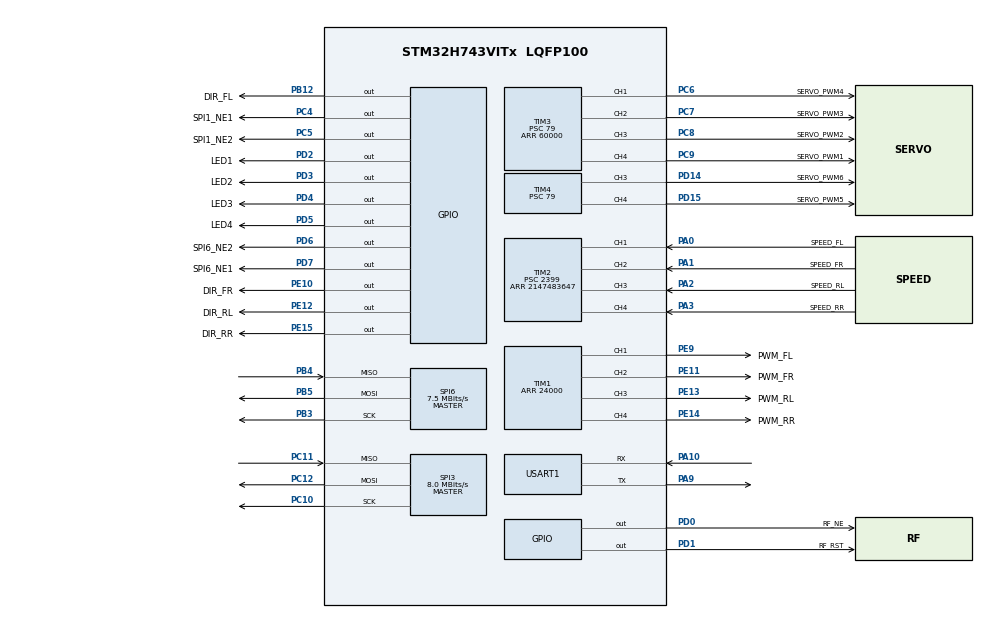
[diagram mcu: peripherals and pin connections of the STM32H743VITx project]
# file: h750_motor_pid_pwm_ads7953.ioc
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Mcu.Family=STM32H7
Mcu.Name=STM32H743VITx
Mcu.Package=LQFP100
NVIC.PriorityGroup=NVIC_PRIORITYGROUP_4
NVIC.TIM2_IRQn=true\:0\:0\:false\:false\:true\:true\:true
NVIC.TIM6_DAC_IRQn=true\:1\:0\:true\:false\:true\:true\:true
PA0.GPIO_Label=SPEED_FL
PA0.Signal=S_TIM2_CH1
PA1.GPIO_Label=SPEED_FR
PA1.Signal=S_TIM2_CH2
PA10.Mode=Asynchronous
PA10.Signal=USART1_RX
PA13\ (JTMS/SWDIO).Mode=Serial_Wire
PA13\ (JTMS/SWDIO).Signal=DEBUG_JTMS-SWDIO
PA14\ (JTCK/SWCLK).Mode=Serial_Wire
PA14\ (JTCK/SWCLK).Signal=DEBUG_JTCK-SWCLK
PA2.GPIO_Label=SPEED_RL
PA2.Signal=S_TIM2_CH3
PA3.GPIO_Label=SPEED_RR
PA3.Signal=S_TIM2_CH4
PA5.Signal=SPI1_SCK
PA6.Signal=SPI1_MISO
PA7.Signal=SPI1_MOSI
PA9.Mode=Asynchronous
PA9.Signal=USART1_TX
PB10.Signal=QUADSPI_BK1_NCS
PB12.GPIO_Label=DIR_FL
PB12.Signal=GPIO_Output
PB2.Signal=QUADSPI_CLK
PB3\ (JTDO/TRACESWO).Mode=Full_Duplex_Master
PB3\ (JTDO/TRACESWO).Signal=SPI6_SCK
PB4\ (NJTRST).Mode=Full_Duplex_Master
PB4\ (NJTRST).Signal=SPI6_MISO
PB5.Mode=Full_Duplex_Master
PB5.Signal=SPI6_MOSI
PC10.Mode=Full_Duplex_Master
PC10.Signal=SPI3_SCK
PC11.Mode=Full_Duplex_Master
PC11.Signal=SPI3_MISO
PC12.Mode=Full_Duplex_Master
PC12.Signal=SPI3_MOSI
PC4.GPIO_Label=SPI1_NE1
PC4.Signal=GPIO_Output
PC5.GPIO_Label=SPI1_NE2
PC5.Signal=GPIO_Output
PC6.GPIO_Label=SERVO_PWM4
PC6.Signal=S_TIM3_CH1
PC7.GPIO_Label=SERVO_PWM3
PC7.Signal=S_TIM3_CH2
PC8.GPIO_Label=SERVO_PWM2
PC8.Signal=S_TIM3_CH3
PC9.GPIO_Label=SERVO_PWM1
PC9.Signal=S_TIM3_CH4
PD0.GPIO_Label=RF_NE
PD0.Signal=GPIO_Output
PD1.GPIO_Label=RF_RST
PD1.Signal=GPIO_Output
PD11.Signal=QUADSPI_BK1_IO0
PD12.Signal=QUADSPI_BK1_IO1
PD14.GPIO_Label=SERVO_PWM6
PD14.Signal=S_TIM4_CH3
PD15.GPIO_Label=SERVO_PWM5
PD15.Signal=S_TIM4_CH4
PD2.GPIO_Label=LED1
PD2.Signal=GPIO_Output
PD3.GPIO_Label=LED2
PD3.Signal=GPIO_Output
PD4.GPIO_Label=LED3
PD4.Signal=GPIO_Output
PD5.GPIO_Label=LED4
PD5.Signal=GPIO_Output
PD6.GPIO_Label=SPI6_NE2
PD6.Signal=GPIO_Output
PD7.GPIO_Label=SPI6_NE1
PD7.Signal=GPIO_Output
PE10.GPIO_Label=DIR_FR
PE10.Signal=GPIO_Output
PE11.GPIO_Label=PWM_FR
PE11.Signal=S_TIM1_CH2
PE12.GPIO_Label=DIR_RL
PE12.Signal=GPIO_Output
PE13.GPIO_Label=PWM_RL
PE13.Signal=S_TIM1_CH3
PE14.GPIO_Label=PWM_RR
PE14.Signal=S_TIM1_CH4
PE15.GPIO_Label=DIR_RR
PE15.Signal=GPIO_Output
PE9.GPIO_Label=PWM_FL
PE9.Signal=S_TIM1_CH1
PH0-OSC_IN\ (PH0).Mode=HSE-External-Oscillator
PH0-OSC_IN\ (PH0).Signal=RCC_OSC_IN
PH1-OSC_OUT\ (PH1).Mode=HSE-External-Oscillator
PH1-OSC_OUT\ (PH1).Signal=RCC_OSC_OUT
ProjectManager.HeapSize=0x200
ProjectManager.StackSize=0x400
ProjectManager.TargetToolchain=MDK-ARM V5.27
RCC.ADCFreq_Value=256000000
RCC.APB1Freq_Value=120000000
RCC.APB2Freq_Value=120000000
RCC.APB3Freq_Value=120000000
RCC.APB4Freq_Value=120000000
RCC.CortexFreq_Value=480000000
RCC.D1PPRE=RCC_APB3_DIV2
RCC.D2PPRE1=RCC_APB1_DIV2
RCC.D2PPRE2=RCC_APB2_DIV2
RCC.D3PPRE=RCC_APB4_DIV2
RCC.DIVM1=1
RCC.DIVM2=1
RCC.DIVN1=120
RCC.DIVN2=64
RCC.HCLKFreq_Value=240000000
RCC.HPRE=RCC_HCLK_DIV2
RCC.HSE_VALUE=8000000
RCC.PLLFRACN=0
RCC.PLLSourceVirtual=RCC_PLLSOURCE_HSE
RCC.SPI123CLockSelection=RCC_SPI123CLKSOURCE_PLL2
RCC.SYSCLKFreq_VALUE=480000000
RCC.SYSCLKSource=RCC_SYSCLKSOURCE_PLLCLK
RCC.USBFreq_Value=480000000
SH.S_TIM1_CH1.0=TIM1_CH1,PWM Generation1 CH1
SH.S_TIM1_CH2.0=TIM1_CH2,PWM Generation2 CH2
SH.S_TIM1_CH3.0=TIM1_CH3,PWM Generation3 CH3
SH.S_TIM1_CH4.0=TIM1_CH4,PWM Generation4 CH4
SH.S_TIM2_CH1.0=TIM2_CH1,Input_Capture1_from_TI1
SH.S_TIM2_CH2.0=TIM2_CH2,Input_Capture2_from_TI2
SH.S_TIM2_CH3.0=TIM2_CH3,Input_Capture3_from_TI3
SH.S_TIM2_CH4.0=TIM2_CH4,Input_Capture4_from_TI4
SH.S_TIM3_CH1.0=TIM3_CH1,PWM Generation1 CH1
SH.S_TIM3_CH2.0=TIM3_CH2,PWM Generation2 CH2
SH.S_TIM3_CH3.0=TIM3_CH3,PWM Generation3 CH3
SH.S_TIM3_CH4.0=TIM3_CH4,PWM Generation4 CH4
SH.S_TIM4_CH3.0=TIM4_CH3,PWM Generation3 CH3
SH.S_TIM4_CH4.0=TIM4_CH4,PWM Generation4 CH4
SPI3.BaudRatePrescaler=SPI_BAUDRATEPRESCALER_32
SPI3.CalculateBaudRate=8.0 MBits/s
SPI3.DataSize=SPI_DATASIZE_8BIT
SPI3.Direction=SPI_DIRECTION_2LINES
SPI3.Mode=SPI_MODE_MASTER
SPI3.VirtualType=VM_MASTER
SPI6.BaudRatePrescaler=SPI_BAUDRATEPRESCALER_16
SPI6.CalculateBaudRate=7.5 MBits/s
SPI6.DataSize=SPI_DATASIZE_8BIT
SPI6.Direction=SPI_DIRECTION_2LINES
SPI6.Mode=SPI_MODE_MASTER
SPI6.VirtualType=VM_MASTER
TIM1.Channel-PWM\ Generation1\ CH1=TIM_CHANNEL_1
TIM1.Channel-PWM\ Generation2\ CH2=TIM_CHANNEL_2
TIM1.Channel-PWM\ Generation3\ CH3=TIM_CHANNEL_3
TIM1.Channel-PWM\ Generation4\ CH4=TIM_CHANNEL_4
TIM1.Period=24000
TIM2.Channel-Input_Capture1_from_TI1=TIM_CHANNEL_1
TIM2.Channel-Input_Capture2_from_TI2=TIM_CHANNEL_2
TIM2.Channel-Input_Capture3_from_TI3=TIM_CHANNEL_3
TIM2.Channel-Input_Capture4_from_TI4=TIM_CHANNEL_4
TIM2.Period=2147483647
TIM2.Prescaler=2399
TIM3.Channel-PWM\ Generation1\ CH1=TIM_CHANNEL_1
TIM3.Channel-PWM\ Generation2\ CH2=TIM_CHANNEL_2
TIM3.Channel-PWM\ Generation3\ CH3=TIM_CHANNEL_3
TIM3.Channel-PWM\ Generation4\ CH4=TIM_CHANNEL_4
TIM3.Period=60000
TIM3.Prescaler=79
TIM4.Channel-PWM\ Generation3\ CH3=TIM_CHANNEL_3
TIM4.Channel-PWM\ Generation4\ CH4=TIM_CHANNEL_4
TIM4.Period=60000
TIM4.Prescaler=79
TIM6.AutoReloadPreload=TIM_AUTORELOAD_PRELOAD_ENABLE
TIM6.Period=49
TIM6.Prescaler=23999
TIM7.AutoReloadPreload=TIM_AUTORELOAD_PRELOAD_ENABLE
TIM7.Period=9
TIM7.Prescaler=23999
USART1.VirtualMode-Asynchronous=VM_ASYNC
VP_TIM1_VS_ClockSourceINT.Mode=Internal
VP_TIM2_VS_ClockSourceINT.Mode=Internal
VP_TIM4_VS_ClockSourceINT.Mode=Internal
VP_TIM6_VS_ClockSourceINT.Mode=Enable_Timer
VP_TIM7_VS_ClockSourceINT.Mode=Enable_Timer
board=custom

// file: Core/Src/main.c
/* USER CODE BEGIN Header */
/**
  ******************************************************************************
  * @file           : main.c
  * @brief          : Main program body
  ******************************************************************************
  * @attention
  *
  * <h2><center>&copy; Copyright (c) 2021 STMicroelectronics.
  * All rights reserved.</center></h2>
  *
  * This software component is licensed by ST under BSD 3-Clause license,
  * the "License"; You may not use this file except in compliance with the
  * License. You may obtain a copy of the License at:
  *                        opensource.org/licenses/BSD-3-Clause
  *
  ******************************************************************************
  */
/* USER CODE END Header */
#include "main.h"
#include "spi.h"
#include "tim.h"
#include "usart.h"
#include "gpio.h"

/* USER CODE BEGIN Includes */
#include "SX1231_APP.h"
#include "ADS7953.h"
#include "motor.h"
#include "delay.h"
#include "stdlib.h"
#include "stdio.h"
#include "seek_line.h"
#include "servo.h"

/* USER CODE END Includes */

/* USER CODE BEGIN PD */
#define RMT_XY_SCALE 4100
/* USER CODE END PD */

void SystemClock_Config(void);

int main(void)
{
  /* USER CODE BEGIN 1 */
	uint8_t bfr[SX1231_PayloadLength];
	uint8_t id, ack, dat[6], i, rx_Valid;
	uint8_t seek_line_enable = 0;
	uint32_t invalid_cnt = 0;
	int32_t rmt_LY[2], rmt_LX[2], rmt_RY[2], rmt_RX[2];
	int32_t rmt_LY_o, rmt_LX_o, rmt_RY_o, rmt_RX_o;
	uint16_t rmt_keys;
	int32_t speed_X, speed_Y, speed_R;
	int32_t speed_FL, speed_FR, speed_RL, speed_RR;

	float kPm = 9.3, kIm = 2.7, kDm = 10.4;
	float kPx, kIx, kDx, kPy, kIy, kDy, kPr, kIr, kDr;

	float servo_angle[4] = {90, 90, 90, 90};

	uint16_t ADS7953_F_bfr[16];
	uint16_t ADS7953_R_bfr[16];
	ADS7953_Typedef ADS7953_F, ADS7953_R;

	ADS7953_F.ADC_Range = ADS7953_Range_VREF;
	ADS7953_F.SPI_Port = SPI6;
	ADS7953_F.NSS_GPIO_Pin = SPI6_NE1_Pin;
	ADS7953_F.NSS_GPIO_Port = SPI6_NE1_GPIO_Port;

	ADS7953_R.ADC_Range = ADS7953_Range_VREF;
	ADS7953_R.SPI_Port = SPI6;
	ADS7953_R.NSS_GPIO_Pin = SPI6_NE2_Pin;
	ADS7953_R.NSS_GPIO_Port = SPI6_NE2_GPIO_Port;
  /* USER CODE END 1 */

  /* MCU Configuration--------------------------------------------------------*/

  /* Reset of all peripherals, Initializes the Flash interface and the Systick. */

  LL_APB4_GRP1_EnableClock(LL_APB4_GRP1_PERIPH_SYSCFG);

  NVIC_SetPriorityGrouping(NVIC_PRIORITYGROUP_4);

  /* System interrupt init*/

  /* Configure the system clock */
  SystemClock_Config();

  /* Initialize all configured peripherals */
  MX_GPIO_Init();
  MX_TIM1_Init();
  MX_TIM2_Init();
  MX_TIM6_Init();
  MX_SPI3_Init();
  MX_SPI6_Init();
  MX_USART1_UART_Init();
  MX_TIM3_Init();
  MX_TIM4_Init();
  MX_TIM7_Init();
  /* USER CODE BEGIN 2 */
	LL_SPI_Enable(SPI3);
	LL_SPI_Enable(SPI6);

	//motor pwm
	LL_TIM_CC_EnableChannel(TIM1, LL_TIM_CHANNEL_CH1);
	LL_TIM_CC_EnableChannel(TIM1, LL_TIM_CHANNEL_CH2);
	LL_TIM_CC_EnableChannel(TIM1, LL_TIM_CHANNEL_CH3);
	LL_TIM_CC_EnableChannel(TIM1, LL_TIM_CHANNEL_CH4);
	LL_TIM_EnableAllOutputs(TIM1);
	LL_TIM_EnableCounter(TIM1);

	//servo pwm
	LL_TIM_CC_EnableChannel(TIM3, LL_TIM_CHANNEL_CH1);
	LL_TIM_CC_EnableChannel(TIM3, LL_TIM_CHANNEL_CH2);
	LL_TIM_CC_EnableChannel(TIM3, LL_TIM_CHANNEL_CH3);
	LL_TIM_CC_EnableChannel(TIM3, LL_TIM_CHANNEL_CH4);
	LL_TIM_CC_EnableChannel(TIM4, LL_TIM_CHANNEL_CH3);
	LL_TIM_CC_EnableChannel(TIM4, LL_TIM_CHANNEL_CH4);
	LL_TIM_EnableAllOutputs(TIM4);
	LL_TIM_EnableAllOutputs(TIM3);
	LL_TIM_EnableCounter(TIM3);
	LL_TIM_EnableCounter(TIM4);

	//speed detect
	LL_TIM_IC_SetPolarity(TIM2, LL_TIM_CHANNEL_CH1, LL_TIM_IC_POLARITY_RISING);
	LL_TIM_IC_SetPolarity(TIM2, LL_TIM_CHANNEL_CH2, LL_TIM_IC_POLARITY_RISING);
	LL_TIM_IC_SetPolarity(TIM2, LL_TIM_CHANNEL_CH3, LL_TIM_IC_POLARITY_RISING);
	LL_TIM_IC_SetPolarity(TIM2, LL_TIM_CHANNEL_CH4, LL_TIM_IC_POLARITY_RISING);
	LL_TIM_CC_EnableChannel(TIM2, LL_TIM_CHANNEL_CH1);
	LL_TIM_CC_EnableChannel(TIM2, LL_TIM_CHANNEL_CH2);
	LL_TIM_CC_EnableChannel(TIM2, LL_TIM_CHANNEL_CH3);
	LL_TIM_CC_EnableChannel(TIM2, LL_TIM_CHANNEL_CH4);
	LL_TIM_EnableIT_CC1(TIM2);
	LL_TIM_EnableIT_CC2(TIM2);
	LL_TIM_EnableIT_CC3(TIM2);
	LL_TIM_EnableIT_CC4(TIM2);
	LL_TIM_EnableCounter(TIM2);

	motor_pid_init(kPm, kIm, kDm);
	//motor pid timer
	LL_TIM_EnableIT_UPDATE(TIM6);
	LL_TIM_EnableCounter(TIM6);

  SX1231_Init_Secondary();
  while (!SX1231_IsActiveFlag_ModeReady(&SX1231_Secondary))
  {
    printf("wait");
  }

	printf("aaaa\r\n");

	rmt_LX[0] = 0x810;
	rmt_LY[0] = 0x820;
	rmt_RX[0] = 0x820;
	rmt_RY[0] = 0x820;

	servo_angle[0] = 90;
	servo_angle[1] = 90;
	servo_angle[2] = 90;
	servo_angle[3] = 90;

  /* USER CODE END 2 */

  /* Infinite loop */
  while (1)
  {

    /* USER CODE BEGIN 3 */
		ADS7953_ReadChannels(&ADS7953_F, ADS7953_F_bfr, ADS7953_Channel_All);
		ADS7953_ReadChannels(&ADS7953_R, ADS7953_R_bfr, ADS7953_Channel_All);
/*
		for(i=0; i<16; i++)
			printf("F%03x ", ADS7953_F_bfr[i]);
		//printf("\r\n");

		for(i=0; i<16; i++)
			printf("R%03x ", ADS7953_R_bfr[i]);
		printf("\r\n");
*/
		LL_GPIO_TogglePin(LED4_GPIO_Port, LED4_Pin);
		rx_Valid = 0;
		if(SX1231_Secondary_ReceivePacket(bfr))
			if(bfr[0] == 0x23 && bfr[1] == 0x33)
			{
				/*
				for(i=0; i<SX1231_PayloadLength; i++)
					printf("%x ", bfr[i]);
				printf("\r\n");
				*/
				rx_Valid = 1;
				invalid_cnt = 0;
				LL_GPIO_TogglePin(LED1_GPIO_Port, LED1_Pin);

				if(seek_line_enable)
				{
					seek_line(ADS7953_F_bfr, ADS7953_R_bfr, &speed_Y, &speed_X, &speed_R);
				}
				else
				{

					rmt_keys  = bfr[2] << 8 | bfr[3];

					if(rmt_keys & 1)
					{

					}

					for(i=0; i<4; i++)
						servo_update(i,servo_angle[i]);

					rmt_LX[1] = rmt_LX[0];
					rmt_LY[1] = rmt_LY[0];
					rmt_RX[1] = rmt_RX[0];
					rmt_RY[1] = rmt_RY[0];

					rmt_LX[0] = bfr[8] << 8 | bfr[9];
					rmt_LY[0] = bfr[10] << 8 | bfr[11];
					rmt_RX[0] = bfr[4] << 8 | bfr[5];
					rmt_RY[0] = bfr[6] << 8 | bfr[7];

					rmt_LX_o = (rmt_LX[0] + rmt_LX[1]) / 2;
					rmt_LY_o = (rmt_LY[0] + rmt_LY[1]) / 2;
					rmt_RX_o = (rmt_RX[0] + rmt_RX[1]) / 2;
					rmt_RY_o = (rmt_RY[0] + rmt_RY[1]) / 2;

					rmt_LX_o -= 0x810;
					rmt_LY_o -= 0x820;
					rmt_RX_o -= 0x820;
					rmt_RY_o -= 0x820;

					rmt_LX_o = sign(rmt_LX_o) * rmt_LX_o * rmt_LX_o / 2000;
					rmt_LY_o = sign(rmt_LY_o) * rmt_LY_o * rmt_LY_o / 2000;
					rmt_RX_o = sign(rmt_RX_o) * rmt_RX_o * rmt_RX_o / 2000;
					rmt_RY_o = sign(rmt_RY_o) * rmt_RY_o * rmt_RY_o / 2000;

					if(labs(rmt_LX_o) < 30)
						rmt_LX_o = 0;
					else
						rmt_LX_o -= 30;
					if(labs(rmt_LY_o) < 30)
						rmt_LY_o = 0;
					else
						rmt_LY_o -= 30;
					if(labs(rmt_RX_o) < 30)
						rmt_RX_o = 0;
					else
						rmt_RX_o -= 30;
					if(labs(rmt_RY_o) < 30)
						rmt_RY_o = 0;
					else
						rmt_RY_o -= 30;

					speed_Y = (rmt_LY_o + rmt_RY_o);
					speed_R = rmt_LX_o;
					speed_X = rmt_RX_o;
				}

				speed_FL = speed_Y - speed_X + speed_R;
				speed_FR = speed_Y + speed_X - speed_R;
				speed_RL = speed_Y - speed_X - speed_R;
				speed_RR = speed_Y + speed_X + speed_R;

				motor_target[FL] = sign(speed_FL) * SPEED_MIN + speed_FL * (SPEED_MAX - SPEED_MIN) / 4100;
				motor_target[FR] = sign(speed_FR) * SPEED_MIN + speed_FR * (SPEED_MAX - SPEED_MIN) / 4100;
				motor_target[RL] = sign(speed_RL) * SPEED_MIN + speed_RL * (SPEED_MAX - SPEED_MIN) / 4100;
				motor_target[RR] = sign(speed_RR) * SPEED_MIN + speed_RR * (SPEED_MAX - SPEED_MIN) / 4100;

				for(i=0; i<4; i++)
					if(labs(motor_target[FL]) > SPEED_MAX)
						motor_target[FL] = SPEED_MAX * sign(motor_target[FL]);

				for(i=0; i<4; i++)
					if(labs(motor_target[FR]) > SPEED_MAX)
						motor_target[FR] = SPEED_MAX * sign(motor_target[FR]);

				for(i=0; i<4; i++)
					if(labs(motor_target[RL]) > SPEED_MAX)
						motor_target[RL] = SPEED_MAX * sign(motor_target[RL]);

				for(i=0; i<4; i++)
					if(labs(motor_target[RR]) > SPEED_MAX)
						motor_target[RR] = SPEED_MAX * sign(motor_target[RR]);

				for(i=0; i<4; i++)
					if(labs(motor_target[FL]) < SPEED_MIN + 1)
						motor_target[FL] = 0;

				for(i=0; i<4; i++)
					if(labs(motor_target[FR]) < SPEED_MIN + 1)
						motor_target[FR] = 0;

				for(i=0; i<4; i++)
					if(labs(motor_target[RL]) < SPEED_MIN + 1)
						motor_target[RL] = 0;

				for(i=0; i<4; i++)
					if(labs(motor_target[RR]) < SPEED_MIN + 1)
						motor_target[RR] = 0;

				aaaaa = bfr[5];

				kPm = (float)bfr[12] + (float)bfr[13] / 10;
				kIm = (float)bfr[14] + (float)bfr[15] / 10;
				kDm = (float)bfr[16] + (float)bfr[17] / 10;

				kPx = (float)bfr[18] + (float)bfr[19] / 10;
				kIx = (float)bfr[20] + (float)bfr[21] / 10;
				kDx = (float)bfr[22] + (float)bfr[23] / 10;

				kPy = (float)bfr[24] + (float)bfr[25] / 10;
				kIy = (float)bfr[26] + (float)bfr[27] / 10;
				kDy = (float)bfr[28] + (float)bfr[29] / 10;

				kPr = (float)bfr[30] + (float)bfr[31] / 10;
				kIr = (float)bfr[32] + (float)bfr[33] / 10;
				kDr = (float)bfr[34] + (float)bfr[35] / 10;

				motor_pid_tune(kPm, kIm, kDm);
				seek_line_pid_tune(kPx, kIx, kDx, kPy, kIy, kDy, kPr, kIr, kDr);

			}
		if(! rx_Valid)
		{
			invalid_cnt++;
			if(invalid_cnt > 20000)
			{
				invalid_cnt = 20000+1;
				motor_target[FL] = 0;
				motor_target[FR] = 0;
				motor_target[RL] = 0;
				motor_target[RR] = 0;
			}
		}

  }
  /* USER CODE END 3 */
}

void SystemClock_Config(void)
{
  LL_FLASH_SetLatency(LL_FLASH_LATENCY_4);
  while(LL_FLASH_GetLatency()!= LL_FLASH_LATENCY_4)
  {
  }
  LL_PWR_ConfigSupply(LL_PWR_LDO_SUPPLY);
  LL_PWR_SetRegulVoltageScaling(LL_PWR_REGU_VOLTAGE_SCALE0);
  LL_RCC_HSE_Enable();

   /* Wait till HSE is ready */
  while(LL_RCC_HSE_IsReady() != 1)
  {

  }
  LL_RCC_PLL_SetSource(LL_RCC_PLLSOURCE_HSE);
  LL_RCC_PLL1P_Enable();
  LL_RCC_PLL1R_Enable();
  LL_RCC_PLL1_SetVCOInputRange(LL_RCC_PLLINPUTRANGE_8_16);
  LL_RCC_PLL1_SetVCOOutputRange(LL_RCC_PLLVCORANGE_WIDE);
  LL_RCC_PLL1_SetM(1);
  LL_RCC_PLL1_SetN(120);
  LL_RCC_PLL1_SetP(2);
  LL_RCC_PLL1_SetQ(2);
  LL_RCC_PLL1_SetR(2);
  LL_RCC_PLL1_Enable();

   /* Wait till PLL is ready */
  while(LL_RCC_PLL1_IsReady() != 1)
  {
  }

  LL_RCC_PLL2P_Enable();
  LL_RCC_PLL2_SetVCOInputRange(LL_RCC_PLLINPUTRANGE_8_16);
  LL_RCC_PLL2_SetVCOOutputRange(LL_RCC_PLLVCORANGE_WIDE);
  LL_RCC_PLL2_SetM(1);
  LL_RCC_PLL2_SetN(64);
  LL_RCC_PLL2_SetP(2);
  LL_RCC_PLL2_SetQ(2);
  LL_RCC_PLL2_SetR(2);
  LL_RCC_PLL2_Enable();

   /* Wait till PLL is ready */
  while(LL_RCC_PLL2_IsReady() != 1)
  {
  }

   /* Intermediate AHB prescaler 2 when target frequency clock is higher than 80 MHz */
   LL_RCC_SetAHBPrescaler(LL_RCC_AHB_DIV_2);

  LL_RCC_SetSysClkSource(LL_RCC_SYS_CLKSOURCE_PLL1);
  LL_RCC_SetSysPrescaler(LL_RCC_SYSCLK_DIV_1);
  LL_RCC_SetAHBPrescaler(LL_RCC_AHB_DIV_2);
  LL_RCC_SetAPB1Prescaler(LL_RCC_APB1_DIV_2);
  LL_RCC_SetAPB2Prescaler(LL_RCC_APB2_DIV_2);
  LL_RCC_SetAPB3Prescaler(LL_RCC_APB3_DIV_2);
  LL_RCC_SetAPB4Prescaler(LL_RCC_APB4_DIV_2);

  LL_Init1msTick(480000000);

  LL_SetSystemCoreClock(480000000);
  LL_RCC_SetSPIClockSource(LL_RCC_SPI6_CLKSOURCE_PCLK4);
  LL_RCC_SetSPIClockSource(LL_RCC_SPI123_CLKSOURCE_PLL2P);
  LL_RCC_SetUSARTClockSource(LL_RCC_USART16_CLKSOURCE_PCLK2);
}

/* USER CODE BEGIN 4 */
int fputc(int ch, FILE* f)
{
	LL_USART_TransmitData8(USART1, (unsigned char)ch);
	while(!LL_USART_IsActiveFlag_TXE(USART1));
	return ch;
}

int32_t sign(int32_t x)
{
	return x > 0 ? 1 : -1;
}

float fsign(float x)
{
	return x > 0 ? 1 : -1;
}

/* USER CODE END 4 */

void Error_Handler(void)
{
  __disable_irq();
  while (1)
  {
  }
}

/************************ (C) COPYRIGHT STMicroelectronics *****END OF FILE****/
